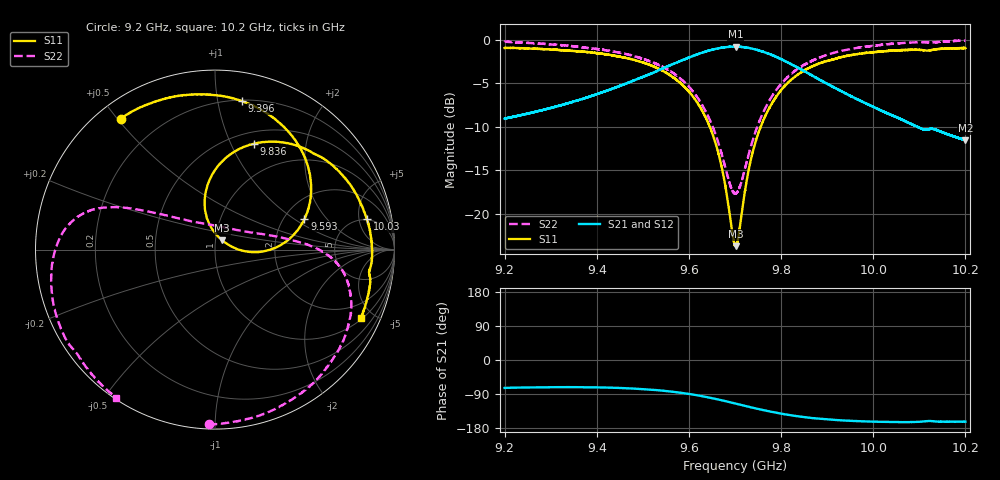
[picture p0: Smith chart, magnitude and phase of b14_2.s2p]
!Agilent Technologies,N5242A,MY51221714,A.09.90.19
!Agilent N5242A: A.09.90.19
!Date: Saturday, March 16, 2024 09:30:16
!Correction: S11(Full 2 Port(1,2))
!S21(Full 2 Port(1,2))
!S12(Full 2 Port(1,2))
!S22(Full 2 Port(1,2))
!S2P File: Measurements: S11, S21, S12, S22:
# Hz S  dB  R 50
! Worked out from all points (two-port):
!   16001 points, 9.2 GHz to 10.2 GHz, reference 50 ohm
!   highest |S21| = -0.77 dB at 9.701 GHz (marker M1); lowest = -11.5 dB at 10.2 GHz (marker M2)
!   |S21| within 3 dB of the highest: 9.522716 GHz to 9.522799 GHz (82.68 kHz wide, 0.000868 % of centre); 9.523 GHz to 9.856 GHz (333.3 MHz wide, 3.44 % of centre)
!   lowest |S11| = -23.7 dB at 9.702 GHz (marker M3), VSWR 1.14, Z = 53.8 + j5.62 ohm
!   |S11| at or under -10 dB: 9.645 GHz to 9.756 GHz (110.4 MHz wide, 1.14 % of centre)
!   |S22| runs from -17.7 to -0.1 dB; largest |S21 - S12| = 0.012
!   S11 on the Smith chart (normalised r, x): 9.2 GHz: 0.07, +0.51; 9.396 GHz: 0.21, +1.18; 9.593 GHz: 2.57, +1.23; 9.836 GHz: 0.63, +1.23; 10.03 GHz: 4.91, +6.48; 10.2 GHz: 1.08, -4.21
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9.2e9  -0.94 125.5  -9.05 -73.6  -9.05 -74.1  -0.22 -92.0
9.27775e9  -1.06 108.1  -8.13 -72.0  -8.11 -72.6  -0.44 -70.6
9.366688e9  -1.36 87.1  -6.83 -71.8  -6.81 -72.3  -0.85 -47.0
9.395688e9  -1.50 79.8  -6.32 -72.1  -6.31 -72.7  -1.03 -39.6
9.464e9  -2.09 61.2  -5.03 -74.5  -5.02 -75.1  -1.65 -23.6
9.533375e9  -3.30 39.9  -3.53 -79.9  -3.51 -80.4  -2.85 -9.3
9.59275e9  -5.55 19.1  -2.20 -88.3  -2.17 -88.8  -4.98 0.8
9.655562e9  -11.49 -2.2  -1.07 -102.2  -1.06 -102.7  -10.54 16.2
9.7e9  -23.58 43.4  -0.78 -114.6  -0.76 -115.2  -17.68 77.5
9.701125e9  -23.66 49.4  -0.77 -115.0  -0.77 -115.6  -17.64 80.1
9.701875e9  -23.70 52.7  -0.79 -115.2  -0.77 -115.8  -17.61 82.1
9.731125e9  -14.56 104.4  -0.94 -123.9  -0.93 -124.5  -12.85 133.9
9.753125e9  -10.34 100.5  -1.24 -130.0  -1.23 -130.6  -9.31 145.7
9.7895e9  -6.54 87.4  -1.96 -139.2  -1.96 -139.9  -5.77 153.6
9.835625e9  -4.02 69.7  -3.18 -148.3  -3.18 -149.0  -3.36 160.1
9.866688e9  -3.08 58.6  -4.09 -153.1  -4.07 -153.6  -2.42 164.3
9.950438e9  -1.77 32.6  -6.44 -160.5  -6.44 -161.0  -1.07 178.8
1.0032e10  -1.28 11.3  -8.47 -163.4  -8.46 -164.0  -0.50 -164.1
1.003338e10  -1.29 11.0  -8.52 -163.4  -8.49 -164.0  -0.50 -163.7
1.01055e10  -1.18 -6.0  -10.23 -162.6  -10.22 -163.2  -0.27 -147.4
1.019994e10  -0.94 -25.2  -11.54 -162.5  -11.52 -163.3  -0.08 -123.7
1.02e10  -0.95 -25.2  -11.53 -162.5  -11.52 -163.2  -0.08 -123.7
